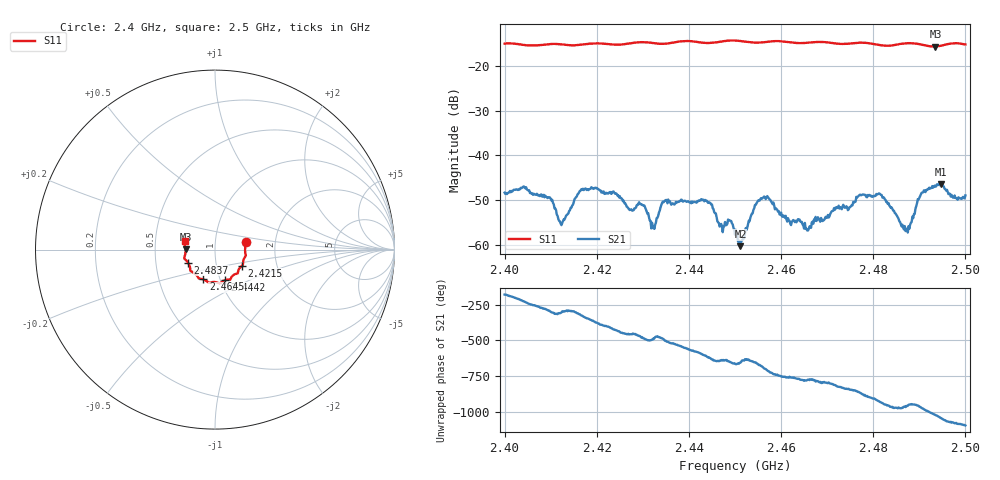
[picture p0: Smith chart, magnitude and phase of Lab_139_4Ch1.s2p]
# Hz S RI R 50
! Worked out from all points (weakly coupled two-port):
!   601 points, 2.4 GHz to 2.5 GHz, reference 50 ohm
!   highest |S21| = -46.40 dB at 2.4947 GHz (marker M1); lowest = -60.2 dB at 2.4512 GHz (marker M2)
!   lowest |S11| = -15.7 dB at 2.4935 GHz (marker M3), VSWR 1.39, Z = 36 + j0.275 ohm
!   |S11| at or under -10 dB: start of sweep to end of sweep
!   S12 and S22 are empty: the file has one direction only
!   S11 on the Smith chart (normalised r, x): 2.4 GHz: 1.41, +0.12; 2.4215 GHz: 1.33, -0.25; 2.4442 GHz: 1.05, -0.37; 2.4645 GHz: 0.83, -0.29; 2.4837 GHz: 0.73, -0.11; 2.5 GHz: 0.71, +0.07
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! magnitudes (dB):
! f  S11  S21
! 2.4 GHz  -15.1  -48.3
! 2.4093 GHz  -15.2  -49.5
! 2.4123 GHz  -15.2  -55.5
! 2.4167 GHz  -15.3  -47.5
! 2.4215 GHz  -15.1  -48.0
! 2.4298 GHz  -14.8  -51.0
! 2.4322 GHz  -15.0  -56.2
! 2.4333 GHz  -15.1  -53.4
! 2.4442 GHz  -15.0  -50.6
! 2.45 GHz  -14.4  -57.7
! 2.4512 GHz  -14.5  -60.2
! 2.456 GHz  -14.8  -49.5
! 2.4645 GHz  -15.0  -54.8
! 2.4667 GHz  -14.8  -54.9
! 2.4773 GHz  -14.9  -48.9
! 2.4833 GHz  -15.6  -50.6
! 2.4837 GHz  -15.5  -51.4
! 2.4875 GHz  -15.0  -57.2
! 2.4902 GHz  -15.2  -49.1
! 2.4935 GHz  -15.7  -47.0
! 2.4947 GHz  -15.6  -46.4
! 2.5 GHz  -15.3  -48.9
